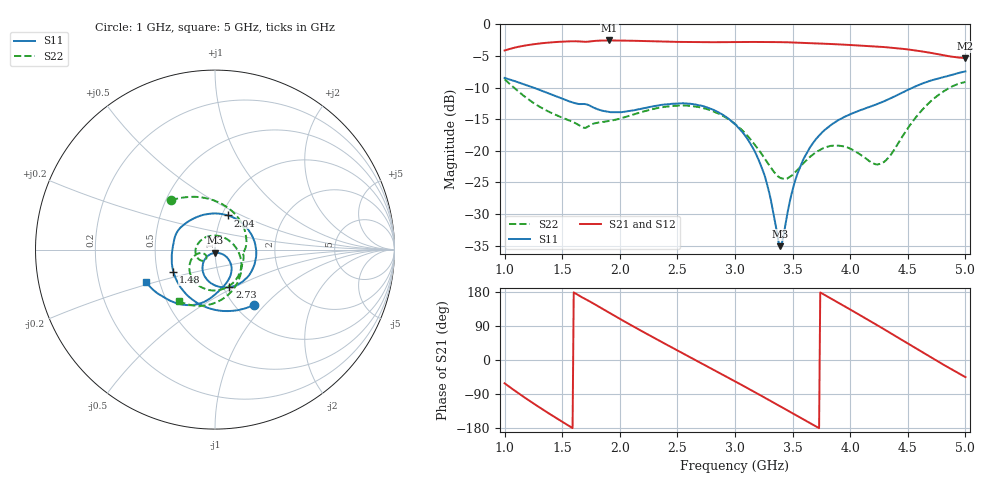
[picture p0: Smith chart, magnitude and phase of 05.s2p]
!Agilent Technologies,N5224A,MY51441093,A.09.90.21
!Agilent N5224A: A.09.90.21
!Date: Wednesday, October 01, 2025 16:37:13
!Correction: S11(Full 2 Port(1,2))
!S21(Full 2 Port(1,2))
!S12(Full 2 Port(1,2))
!S22(Full 2 Port(1,2))
!S2P File: Measurements: S11, S21, S12, S22:
# Hz S  dB  R 50
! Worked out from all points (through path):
!   401 points, 1 GHz to 5 GHz, reference 50 ohm
!   highest |S21| = -2.56 dB at 1.91 GHz (marker M1); lowest = -5.4 dB at 5 GHz (marker M2)
!   lowest |S11| = -35.1 dB at 3.39 GHz (marker M3), VSWR 1.04, Z = 50 - j1.76 ohm
!   |S11| at or under -10 dB: 1.249 GHz to 4.544 GHz (3.296 GHz wide, 114 % of centre)
!   |S22| runs from -24.5 to -8.7 dB; largest |S21 - S12| = 0.0037
!   S11 on the Smith chart (normalised r, x): 1 GHz: 1.21, -0.87; 1.48 GHz: 0.61, -0.16; 2.04 GHz: 1.07, +0.42; 2.73 GHz: 1.07, -0.47; 5 GHz: 0.42, -0.19
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1e9  -8.48 -54.7  -4.14 -61.5  -4.12 -61.5  -8.70 131.7
1.23e9  -9.87 -102.2  -3.21 -110.5  -3.21 -110.6  -12.18 74.4
1.48e9  -11.60 -151.8  -2.77 -159.2  -2.76 -159.2  -14.62 20.6
1.67e9  -12.61 167.3  -2.74 165.8  -2.73 165.8  -16.24 -6.9
1.91e9  -13.88 102.5  -2.56 124.3  -2.54 124.3  -15.29 -27.7
2.04e9  -13.83 69.1  -2.58 101.8  -2.56 101.8  -14.71 -39.6
2.18e9  -13.37 35.0  -2.64 78.0  -2.63 78.0  -13.92 -52.9
2.34e9  -12.81 0.5  -2.72 51.4  -2.71 51.5  -13.21 -70.4
2.54e9  -12.48 -37.1  -2.80 18.8  -2.79 18.8  -12.83 -93.9
2.73e9  -12.98 -69.0  -2.83 -12.1  -2.81 -12.0  -13.28 -117.5
3e9  -15.79 -109.9  -2.81 -56.2  -2.79 -56.2  -15.77 -150.0
3.23e9  -22.57 -136.8  -2.79 -94.6  -2.77 -94.6  -20.47 -167.2
3.39e9  -35.08 -90.4  -2.82 -121.8  -2.81 -121.8  -24.26 -154.2
3.53e9  -24.25 -31.0  -2.89 -145.7  -2.87 -145.7  -23.25 -134.3
3.67e9  -18.96 -40.8  -2.99 -169.7  -2.97 -169.7  -20.69 -137.3
3.85e9  -15.71 -57.7  -3.13 159.3  -3.12 159.3  -19.20 -161.1
4.05e9  -13.86 -73.9  -3.32 124.6  -3.30 124.4  -20.18 156.2
4.23e9  -12.65 -85.1  -3.52 92.7  -3.49 92.5  -22.16 90.1
4.34e9  -11.79 -91.7  -3.67 72.9  -3.64 72.6  -20.92 38.5
4.51e9  -10.29 -104.0  -4.00 41.9  -3.98 41.6  -16.18 -21.3
4.66e9  -9.14 -117.8  -4.40 14.5  -4.38 14.3  -12.86 -58.0
5e9  -7.46 -154.8  -5.36 -45.2  -5.34 -45.4  -9.11 -125.2
